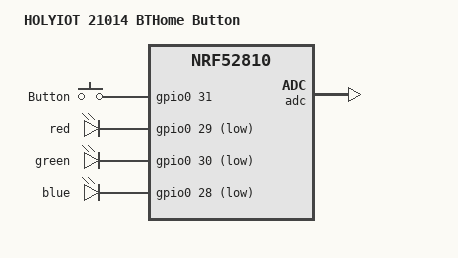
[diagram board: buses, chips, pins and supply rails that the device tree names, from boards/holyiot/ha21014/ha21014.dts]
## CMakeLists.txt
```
cmake_minimum_required(VERSION 3.20.0)
list(APPEND BOARD_ROOT ${CMAKE_CURRENT_SOURCE_DIR})
find_package(Zephyr REQUIRED HINTS $ENV{ZEPHYR_BASE})
project(ha_button_21014)
target_sources(app PRIVATE src/main.c src/button_gestures.c src/battery.c src/bthome_packet.c)
```

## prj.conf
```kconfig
CONFIG_GPIO=y
CONFIG_ADC=y
CONFIG_TICKLESS_KERNEL=y
CONFIG_BT=y
CONFIG_BT_BROADCASTER=y
# One fewer space keeps flags + name + voltage + event within the 31-byte limit.
CONFIG_BT_DEVICE_NAME="HA Button21014"
CONFIG_BT_CTLR_TX_PWR_0=y
CONFIG_CLOCK_CONTROL_NRF_K32SRC_RC=y
CONFIG_CLOCK_CONTROL_NRF_K32SRC_500PPM=y
CONFIG_SERIAL=n
CONFIG_CONSOLE=n
CONFIG_UART_CONSOLE=n
CONFIG_PRINTK=n
CONFIG_BOOT_BANNER=n
CONFIG_LOG=n
CONFIG_SIZE_OPTIMIZATIONS=y
CONFIG_MAIN_STACK_SIZE=1536
CONFIG_SYSTEM_WORKQUEUE_STACK_SIZE=1024
CONFIG_BT_RX_STACK_SIZE=1024
CONFIG_HEAP_MEM_POOL_SIZE=0
CONFIG_BUILD_OUTPUT_BIN=y
CONFIG_BUILD_OUTPUT_HEX=y
```

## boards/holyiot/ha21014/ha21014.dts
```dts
/dts-v1/;
#include <nordic/nrf52810_qfaa.dtsi>
#include <zephyr/dt-bindings/gpio/gpio.h>

/ {
	model = "HOLYIOT 21014 BTHome Button";
	compatible = "holyiot,21014";
	chosen {
		zephyr,sram = &sram0;
		zephyr,flash = &flash0;
	};
	buttons {
		compatible = "gpio-keys";
		button0: button_0 {
			gpios = <&gpio0 31 (GPIO_ACTIVE_HIGH | GPIO_PULL_DOWN)>;
			label = "Button";
		};
	};
	leds {
		compatible = "gpio-leds";
		red: led_red { gpios = <&gpio0 29 GPIO_ACTIVE_LOW>; };
		green: led_green { gpios = <&gpio0 30 GPIO_ACTIVE_LOW>; };
		blue: led_blue { gpios = <&gpio0 28 GPIO_ACTIVE_LOW>; };
	};
	aliases {
		sw0 = &button0;
		led0 = &red;
		led1 = &green;
		led2 = &blue;
	};
};

&gpio0 {
	status = "okay";
	/* Use low-power PORT/SENSE rather than a high-accuracy GPIOTE IN channel. */
	sense-edge-mask = <0x80000000>;
};
&gpiote { status = "okay"; };
&adc { status = "okay"; };
/* LDO is safe even on module variants without a DC/DC inductor.
 * No bootloader, UICR writes, UART or unused peripheral pin assignments. */
```

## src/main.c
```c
#include <zephyr/kernel.h>
#include <zephyr/drivers/gpio.h>
#include <zephyr/bluetooth/bluetooth.h>
#include <zephyr/sys/util.h>
#include "button_gestures.h"
#include "app_config.h"
#include "battery.h"
#include "bthome_packet.h"

static const struct gpio_dt_spec button = GPIO_DT_SPEC_GET(DT_ALIAS(sw0), gpios);
#if LED_COLOR == LED_COLOR_RED
#define STATUS_LED_ALIAS led0
#elif LED_COLOR == LED_COLOR_GREEN
#define STATUS_LED_ALIAS led1
#elif LED_COLOR == LED_COLOR_BLUE
#define STATUS_LED_ALIAS led2
#else
#error "LED_COLOR must be LED_COLOR_RED, LED_COLOR_GREEN or LED_COLOR_BLUE"
#endif
static const struct gpio_dt_spec status_led = GPIO_DT_SPEC_GET(DT_ALIAS(STATUS_LED_ALIAS), gpios);
static struct gpio_callback button_callback;
static struct k_work_delayable debounce_work;
struct button_edge {
	int64_t time;
	bool down;
};
K_MSGQ_DEFINE(edge_queue, sizeof(struct button_edge), 16, 8);
K_MSGQ_DEFINE(event_queue, sizeof(uint8_t), 16, 1);
static bool button_down;
static struct button_gestures gestures;
/* Exposed for SWD inspection and accelerated heartbeat verification. */
volatile int64_t heartbeat_at;

/* Readable through SWD without a serial console. */
volatile struct {
	uint32_t ready;
	uint32_t presses;
	uint32_t bursts;
	int32_t error;
	uint32_t singles;
	uint32_t doubles;
	uint32_t holds;
	uint32_t releases;
	uint32_t last_event;
	uint32_t battery_mv;
	uint32_t battery_samples;
	int32_t battery_error;
	uint32_t heartbeats;
} diagnostics;

/* BTHome v2, unencrypted, trigger-based; packet ID; button event.
 * A repeated advertisement retains its packet ID to suppress duplicates. */
static uint8_t packet_id;
static uint8_t service_data[BTHOME_PAYLOAD_MAX];
BUILD_ASSERT(3 + 2 + sizeof(CONFIG_BT_DEVICE_NAME) - 1 + 2 + BTHOME_PAYLOAD_MAX <= 31,
	     "Legacy BLE advertisement exceeds 31 bytes");
static struct bt_data advertising_data[] = {
	BT_DATA_BYTES(BT_DATA_FLAGS, BT_LE_AD_GENERAL | BT_LE_AD_NO_BREDR),
	BT_DATA(BT_DATA_NAME_COMPLETE, CONFIG_BT_DEVICE_NAME, sizeof(CONFIG_BT_DEVICE_NAME) - 1),
	BT_DATA(BT_DATA_SVC_DATA16, service_data, sizeof(service_data)),
};
static const struct bt_le_adv_param advertising_params = {
	.id = BT_ID_DEFAULT,
	.options = BT_LE_ADV_OPT_USE_IDENTITY,
	.interval_min = 160, /* 100 ms */
	.interval_max = 192, /* 120 ms */
};

static void fatal(int error)
{
	diagnostics.error = error;
	(void)bt_le_adv_stop();
	(void)gpio_pin_set_dt(&status_led, 0);
	for (;;) {
		(void)gpio_pin_set_dt(&status_led, 1);
		k_sleep(K_MSEC(20));
		(void)gpio_pin_set_dt(&status_led, 0);
		k_sleep(K_SECONDS(5));
	}
}

static void prepare_report(uint8_t event, bool recalibrate)
{
	uint16_t mv = 0;
	int err = battery_read_mv(&mv, recalibrate);
	diagnostics.battery_error = err;
	if (!err) {
		diagnostics.battery_mv = mv;
		++diagnostics.battery_samples;
	}
	/* ADC failure must not disable the button or broadcast a made-up voltage. */
	advertising_data[2].data_len =
		bthome_encode(service_data, packet_id, event, mv, err == 0);
}

static void debounce(struct k_work *work)
{
	ARG_UNUSED(work);
	int state = gpio_pin_get_dt(&button);
	if (state < 0) {
		diagnostics.error = state;
		return;
	}
	if ((state != 0) != button_down) {
		struct button_edge edge = {.time = k_uptime_get(), .down = state != 0};
		if (k_msgq_put(&edge_queue, &edge, K_NO_WAIT) != 0) {
			diagnostics.error = -ENOSPC;
		}
	}
	button_down = state != 0;
}

static void queue_event(uint8_t event, void *context)
{
	ARG_UNUSED(context);
	if (k_msgq_put(&event_queue, &event, K_NO_WAIT) != 0) {
		fatal(-ENOSPC);
	}
	switch (event) {
	case BUTTON_PRESS: ++diagnostics.singles; break;
	case BUTTON_DOUBLE_PRESS: ++diagnostics.doubles; break;
	case BUTTON_HOLD: ++diagnostics.holds; break;
	case BUTTON_LONG_RELEASE: ++diagnostics.releases; break;
	}
}

static void button_changed(const struct device *port, struct gpio_callback *cb, uint32_t pins)
{
	ARG_UNUSED(port);
	ARG_UNUSED(cb);
	ARG_UNUSED(pins);
	k_work_reschedule(&debounce_work, K_MSEC(DEBOUNCE_MS));
}

int main(void)
{
	int err;
	if (!gpio_is_ready_dt(&button)) { fatal(-ENODEV); }
	if (!gpio_is_ready_dt(&status_led)) { fatal(-ENODEV); }
	err = gpio_pin_configure_dt(&status_led, GPIO_OUTPUT_INACTIVE);
	if (err) { fatal(err); }
	err = gpio_pin_configure_dt(&button, GPIO_INPUT);
	if (err) { fatal(err); }
	k_work_init_delayable(&debounce_work, debounce);
	gpio_init_callback(&button_callback, button_changed, BIT(button.pin));
	err = gpio_add_callback(button.port, &button_callback);
	if (err) { fatal(err); }
	err = gpio_pin_interrupt_configure_dt(&button, GPIO_INT_EDGE_BOTH);
	if (err) { fatal(err); }
	k_work_reschedule(&debounce_work, K_MSEC(DEBOUNCE_MS));
	err = bt_enable(NULL);
	if (err) { fatal(err); }
	prepare_report(0, true);
	err = bt_le_adv_start(&advertising_params, advertising_data,
		ARRAY_SIZE(advertising_data), NULL, 0);
	if (err) { fatal(err); }
	diagnostics.ready = 1;
	diagnostics.bursts = 1;
	bool advertising = true;
	int64_t stop_at = k_uptime_get() + DISCOVERY_MS;
	int64_t replace_at = 0; /* Startup discovery may be replaced immediately. */
	heartbeat_at = k_uptime_get() + HEARTBEAT_INTERVAL_MS;
	int64_t led_off_at = k_uptime_get() + LED_MS;
	gpio_pin_set_dt(&status_led, 1);

	for (;;) {
		int64_t now = k_uptime_get();
		if (led_off_at && now >= led_off_at) {
			gpio_pin_set_dt(&status_led, 0);
			led_off_at = 0;
		}
		if (advertising && now >= stop_at) {
			err = bt_le_adv_stop();
			if (err) { fatal(err); }
			advertising = false;
		}
		int64_t next = advertising ? stop_at : INT64_MAX;
		if (led_off_at && led_off_at < next) { next = led_off_at; }
		int64_t gesture_at = button_gestures_deadline(&gestures);
		if (gesture_at < next) { next = gesture_at; }
		bool queued = k_msgq_num_used_get(&event_queue) != 0;
		if (queued && replace_at < next) { next = replace_at; }
		/* Let an in-progress gesture finish first. Every event also reports
		 * voltage, so it postpones the idle heartbeat instead of adding traffic. */
		bool gesture_pending = gestures.down || gestures.waiting_second;
		if (!gesture_pending && !queued) {
			int64_t heartbeat_wakeup = MAX(heartbeat_at, replace_at);
			if (heartbeat_wakeup < next) { next = heartbeat_wakeup; }
		}
		k_timeout_t timeout = next == INT64_MAX ? K_FOREVER : K_MSEC(MAX(next - now, 0));
		struct button_edge edge;
		if (k_msgq_get(&edge_queue, &edge, timeout) == 0) {
			if (edge.down) { ++diagnostics.presses; }
			button_gestures_edge(&gestures, edge.down, edge.time, queue_event, NULL);
		} else {
			button_gestures_tick(&gestures, k_uptime_get(), queue_event, NULL);
		}
		now = k_uptime_get();
		if (advertising && now < replace_at) { continue; }
		uint8_t event;
		bool is_heartbeat = false;
		if (k_msgq_get(&event_queue, &event, K_NO_WAIT) != 0) {
			if (now < heartbeat_at || gestures.down || gestures.waiting_second) { continue; }
			event = 0;
			is_heartbeat = true;
		}
		++packet_id;
		prepare_report(event, is_heartbeat);
		if (advertising) {
			err = bt_le_adv_update_data(advertising_data, ARRAY_SIZE(advertising_data), NULL, 0);
		} else {
			err = bt_le_adv_start(&advertising_params, advertising_data,
				ARRAY_SIZE(advertising_data), NULL, 0);
		}
		if (err) { fatal(err); }
		advertising = true;
		stop_at = k_uptime_get() +
			(is_heartbeat ? HEARTBEAT_ADVERTISING_MS : EVENT_ADVERTISING_MS);
		replace_at = k_uptime_get() + MIN_EVENT_AIRTIME_MS;
		heartbeat_at = k_uptime_get() + HEARTBEAT_INTERVAL_MS;
		if (is_heartbeat) {
			++diagnostics.heartbeats;
		} else {
			led_off_at = k_uptime_get() + LED_MS;
			gpio_pin_set_dt(&status_led, 1);
		}
		diagnostics.last_event = event;
		++diagnostics.bursts;
	}
}
```

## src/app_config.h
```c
#ifndef APP_CONFIG_H
#define APP_CONFIG_H

#include <stdint.h>

/* HOLYIOT 21011 v1.0 is compatible with the confirmed nRF52810 wiring:
 * button P0.31 (package pin 43), active HIGH; status LED P0.30 (pin 42),
 * active LOW, tested on hardware. Use LED_COLOR_GREEN for its single LED.
 * Color names refer to the 21014 RGB channels, not the 21011 LED color.
 * Only the selected LED GPIO is configured and driven.
 */
#define LED_COLOR_RED 0
#define LED_COLOR_GREEN 1
#define LED_COLOR_BLUE 2
#ifndef LED_COLOR
#define LED_COLOR LED_COLOR_GREEN
#endif

#define DEBOUNCE_MS 25
#define EVENT_ADVERTISING_MS 750
#define MIN_EVENT_AIRTIME_MS 350
#define HEARTBEAT_ADVERTISING_MS 1200
#define HEARTBEAT_INTERVAL_MS (INT64_C(6) * 60 * 60 * 1000)
#define DISCOVERY_MS 10000
#define LED_MS 8

#endif
```

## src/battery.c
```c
#include <zephyr/drivers/adc.h>
#include <hal/nrf_saadc.h>
#include "battery.h"

static const struct device *const adc = DEVICE_DT_GET(DT_NODELABEL(adc));
static const struct adc_channel_cfg channel = {
	.gain = ADC_GAIN_1_6,
	.reference = ADC_REF_INTERNAL,
	.acquisition_time = ADC_ACQ_TIME(ADC_ACQ_TIME_MICROSECONDS, 10),
	.channel_id = 0,
	.input_positive = NRF_SAADC_INPUT_VDD,
};
static int16_t sample __aligned(4);
static bool configured;
static bool calibrated;

int battery_read_mv(uint16_t *millivolts, bool recalibrate)
{
	if (!device_is_ready(adc)) { return -ENODEV; }
	if (!configured) {
		int err = adc_channel_setup(adc, &channel);
		if (err) { return err; }
		configured = true;
	}
	const struct adc_sequence sequence = {
		.channels = BIT(0),
		.buffer = &sample,
		.buffer_size = sizeof(sample),
		.resolution = 12,
		.oversampling = 3, /* Eight hardware samples, one short measurement. */
		.calibrate = !calibrated || recalibrate,
	};
	/* Zephyr's nrfx simple-mode driver disables SAADC on completion.
	 * No polling, periodic ADC timer, external divider or persistent HF clock. */
	int err = adc_read(adc, &sequence);
	if (err) {
		calibrated = false;
		return err;
	}
	calibrated = true;
	int32_t mv = sample;
	err = adc_raw_to_millivolts(adc_ref_internal(adc), channel.gain, 12, &mv);
	if (err) { return err; }
	if (mv < 1500 || mv > 3600) { return -ERANGE; }
	*millivolts = (uint16_t)mv;
	return 0;
}
```

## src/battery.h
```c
#ifndef BATTERY_H
#define BATTERY_H

#include <stdbool.h>
#include <stdint.h>

/* VDD is the CR2032 voltage only when powered by the cell, not the programmer. */
int battery_read_mv(uint16_t *millivolts, bool recalibrate);

#endif
```

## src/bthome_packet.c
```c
#include "bthome_packet.h"

size_t bthome_encode(uint8_t out[BTHOME_PAYLOAD_MAX], uint8_t packet_id,
		     uint8_t event, uint16_t millivolts, bool voltage_valid)
{
	size_t n = 0;
	out[n++] = 0xd2; /* Service UUID 0xFCD2, little-endian. */
	out[n++] = 0xfc;
	out[n++] = 0x44; /* BTHome v2, unencrypted, trigger-based. */
	out[n++] = 0x00;
	out[n++] = packet_id;
	if (voltage_valid) {
		out[n++] = 0x0c; /* uint16 millivolts, displayed in volts by HA. */
		out[n++] = (uint8_t)millivolts;
		out[n++] = (uint8_t)(millivolts >> 8);
	}
	out[n++] = 0x3a;
	out[n++] = event; /* Zero for startup/heartbeat: never repeat an old press. */
	return n;
}
```

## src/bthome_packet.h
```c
#ifndef BTHOME_PACKET_H
#define BTHOME_PACKET_H

#include <stdbool.h>
#include <stddef.h>
#include <stdint.h>

#define BTHOME_PAYLOAD_MAX 10
size_t bthome_encode(uint8_t out[BTHOME_PAYLOAD_MAX], uint8_t packet_id,
		     uint8_t event, uint16_t millivolts, bool voltage_valid);

#endif
```

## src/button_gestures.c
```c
#include "button_gestures.h"

void button_gestures_tick(struct button_gestures *s, int64_t now,
			  button_emit_fn emit, void *context)
{
	if (s->down && !s->held && now >= s->pressed_at + LONG_PRESS_MS) {
		s->held = true;
		s->second_down = false;
		emit(BUTTON_HOLD, context);
	}
	if (s->waiting_second && now >= s->click_deadline) {
		s->waiting_second = false;
		emit(BUTTON_PRESS, context);
	}
}

void button_gestures_edge(struct button_gestures *s, bool down, int64_t now,
			  button_emit_fn emit, void *context)
{
	/* Resolve expired deadlines before the edge, including exact boundaries. */
	button_gestures_tick(s, now, emit, context);
	if (down == s->down) {
		return;
	}
	s->down = down;
	if (down) {
		s->pressed_at = now;
		s->held = false;
		s->second_down = s->waiting_second;
		s->waiting_second = false;
		return;
	}
	if (s->held) {
		emit(BUTTON_LONG_RELEASE, context);
	} else if (s->second_down) {
		emit(BUTTON_DOUBLE_PRESS, context);
	} else {
		s->waiting_second = true;
		s->click_deadline = now + DOUBLE_CLICK_MS;
	}
	s->held = false;
	s->second_down = false;
}

int64_t button_gestures_deadline(const struct button_gestures *s)
{
	if (s->down && !s->held) {
		return s->pressed_at + LONG_PRESS_MS;
	}
	return s->waiting_second ? s->click_deadline : INT64_MAX;
}
```

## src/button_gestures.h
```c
#ifndef BUTTON_GESTURES_H
#define BUTTON_GESTURES_H

#include <stdbool.h>
#include <stdint.h>

#define DOUBLE_CLICK_MS 350
#define LONG_PRESS_MS 800

enum button_event {
	BUTTON_PRESS = 0x01,
	BUTTON_DOUBLE_PRESS = 0x02,
	BUTTON_LONG_RELEASE = 0x04, /* BTHome long_press: release after hold */
	BUTTON_HOLD = 0x80,         /* BTHome hold_press: threshold crossed */
};

struct button_gestures {
	bool down;
	bool held;
	bool waiting_second;
	bool second_down;
	int64_t pressed_at;
	int64_t click_deadline;
};

typedef void (*button_emit_fn)(uint8_t event, void *context);
void button_gestures_tick(struct button_gestures *s, int64_t now,
			  button_emit_fn emit, void *context);
void button_gestures_edge(struct button_gestures *s, bool down, int64_t now,
			  button_emit_fn emit, void *context);
int64_t button_gestures_deadline(const struct button_gestures *s);

#endif
```
